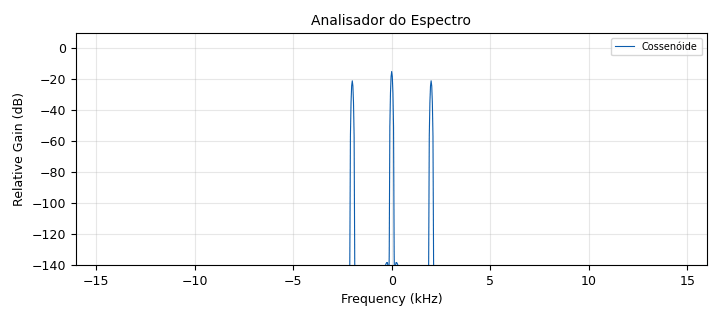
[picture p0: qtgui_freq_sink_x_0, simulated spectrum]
options:
  parameters:
    generate_options: qt_gui
    id: Exp00_AR04
    output_language: python
    title: AR04
  states: {}

blocks:
- name: Freq1
  id: variable_qtgui_range
  parameters:
    gui_hint: (14,1,1,2)
    orient: Qt.Horizontal
    start: '0'
    step: '100'
    stop: '20000'
    value: '1000'
  states: {}
- name: Freq2
  id: variable_qtgui_range
  parameters:
    gui_hint: (15,1,1,2)
    orient: Qt.Horizontal
    start: '0'
    step: '100'
    stop: '20000'
    value: '1000'
  states: {}
- name: samp_rate
  id: variable
  parameters:
    value: '32000'
  states: {}
- name: analog_sig_source_x_0
  id: analog_sig_source_x
  parameters:
    amp: '1'
    freq: Freq1
    offset: '0'
    phase: '0'
    samp_rate: samp_rate
    type: float
    waveform: analog.GR_COS_WAVE
  states: {}
- name: analog_sig_source_x_0_0
  id: analog_sig_source_x
  parameters:
    amp: '1'
    freq: Freq2
    offset: '0'
    phase: '0'
    samp_rate: samp_rate
    type: float
    waveform: analog.GR_COS_WAVE
  states: {}
- name: blocks_multiply_xx_0
  id: blocks_multiply_xx
  parameters:
    type: float
  states: {}
- name: blocks_throttle_0
  id: blocks_throttle
  parameters:
    samples_per_second: samp_rate
    type: float
  states: {}
- name: blocks_throttle_0_0
  id: blocks_throttle
  parameters:
    samples_per_second: samp_rate
    type: float
  states: {}
- name: qtgui_freq_sink_x_0
  id: qtgui_freq_sink_x
  parameters:
    bw: samp_rate
    ctrlpanel: 'True'
    fc: '0'
    fftsize: '1024'
    grid: 'True'
    gui_hint: (1,1,12,2)
    label1: Cossenóide
    name: '"Analisador do Espectro"'
    tr_mode: qtgui.TRIG_MODE_AUTO
    type: float
    wintype: firdes.WIN_BLACKMAN_hARRIS
  states: {}

connections:
- [analog_sig_source_x_0, '0', blocks_throttle_0, '0']
- [analog_sig_source_x_0_0, '0', blocks_throttle_0_0, '0']
- [blocks_multiply_xx_0, '0', qtgui_freq_sink_x_0, '0']
- [blocks_throttle_0, '0', blocks_multiply_xx_0, '0']
- [blocks_throttle_0_0, '0', blocks_multiply_xx_0, '1']

metadata:
  file_format: 1
